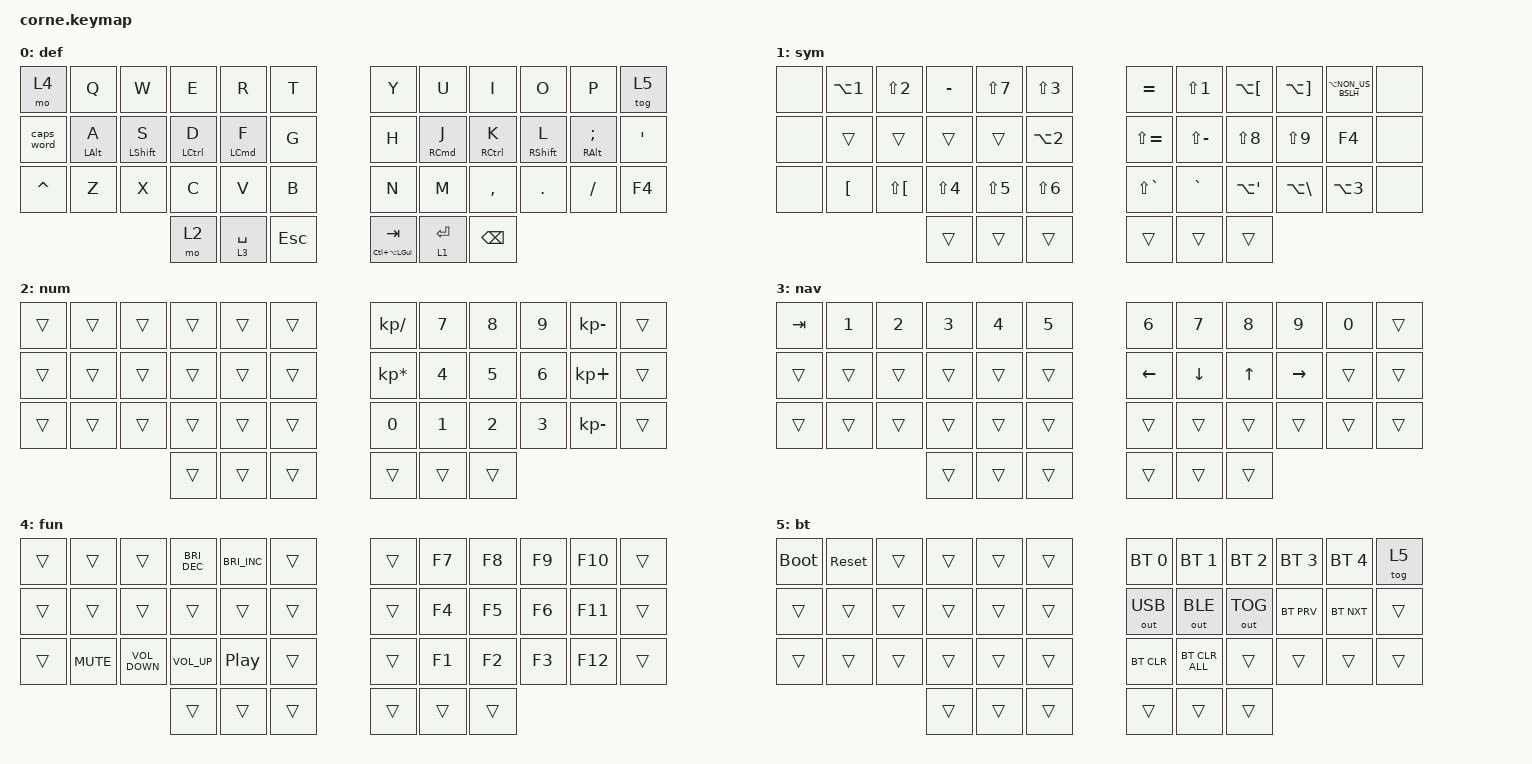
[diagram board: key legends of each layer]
/*
 * Copyright (c) 2020 The ZMK Contributors
 *
 * SPDX-License-Identifier: MIT
 */

#include <behaviors.dtsi>
#include <dt-bindings/zmk/bt.h>
#include <dt-bindings/zmk/outputs.h>
#include <dt-bindings/zmk/keys.h>
#include "zmk-helpers/helper.h"
#include "42.h"

#define HYPER LC(LA(LGUI))
#define KEYS_L LT0 LT1 LT2 LT3 LT4 LM0 LM1 LM2 LM3 LM4 LB0 LB1 LB2 LB3 LB4  // Left-hand keys.
#define KEYS_R RT0 RT1 RT2 RT3 RT4 RM0 RM1 RM2 RM3 RM4 RB0 RB1 RB2 RB3 RB4  // Right-hand keys.
#define THUMBS LH2 LH1 LH0 RH0 RH1 RH2                                      // Thumb keys.


ZMK_HOLD_TAP(hrm_l,
    flavor = "balanced";
    tapping-term-ms = <280>;
    quick-tap-ms = <175>;
    require-prior-idle-ms = <175>;
    bindings = <&kp>, <&kp>;
    hold-trigger-key-positions = <KEYS_R THUMBS>;
    hold-trigger-on-release;
)

ZMK_HOLD_TAP(hrm_r,
    flavor = "balanced";
    tapping-term-ms = <280>;
    quick-tap-ms = <175>;
    require-prior-idle-ms = <175>;
    bindings = <&kp>, <&kp>;
    hold-trigger-key-positions = <KEYS_L THUMBS>;
    hold-trigger-on-release;
)

ZMK_COMBO(equal, &kp LS(N0), LM0 RM0)

/ {
    keymap {
        compatible = "zmk,keymap";

        default_layer {

            // -----------------------------------------------------------------------------------------
            // |  &fun  |  Q   |  W     |  E     |  R     |  T   |   |  Y   |  U     |  I     |  O     |  P     | &bt   |
            // | WORD  | ALT A| SHFT S | CTRL D | CMD F  |  G   |   |  H   | CMD J  | CTRL K | SHFT L | ALT Ñ |  ´     |
            // |       |  Z   |  X     |  C     |  V     |  B   |   |  N   |  M     |  ,     |  .     |  -     | <F4>  |
            //                     | &num   | &nav SPC | ESC |   | HYP TAB | &sym ENT | BKSP |

            display-name = "def";
            bindings = <
&mo 4      &kp Q              &kp W                &kp E           &kp R                  &kp T         &kp Y    &kp U                   &kp I           &kp O                 &kp P                  &tog 5
&caps_word  &hrm_l LEFT_ALT A  &hrm_l LEFT_SHIFT S  &hrm_l LCTRL D  &hrm_l LEFT_COMMAND F  &kp G         &kp H    &hrm_r RIGHT_COMMAND J  &hrm_r RCTRL K  &hrm_r RIGHT_SHIFT L  &hrm_r RIGHT_ALT SEMI  &kp SQT
&kp CARET   &kp Z              &kp X                &kp C           &kp V                  &kp B         &kp N    &kp M                   &kp COMMA       &kp DOT               &kp FSLH               &kp F4
                                                    &mo 2           &lt 3 SPACE            &kp ESCAPE    &mt HYPER TAB  &lt 1 RET               &kp BACKSPACE
            >;
        };

        symbols {
            // -----------------------------------------------------------------------------------------
            // |  &fun  |  |   |  "     |  '     |  /     |  ·   |   |  ¡   |  !     |  [     |  ]     |  \     | &def  |
            // | WORD  | ALT A| SHFT S | CTRL D | CMD F  |  @   |   |  ¿   |  ?     |  (     |  )     | <F4>   |       |
            // |       |  `   |  ^     |  $     |  %     |  %   | & |  >   |  <     |  {     |  }     |  #     |       |
            //                     | &num   | &nav SPC | ESC |   | HYP TAB | &sym ENT | BKSP |

            display-name = "sym";
            bindings = <
&none  &kp LA(NUMBER_1)  &kp LS(NUMBER_2)  &kp MINUS         &kp LS(N7)  &kp LS(NUMBER_3)    &kp EQUAL      &kp LS(NUMBER_1)  &kp LA(LEFT_BRACKET)  &kp LA(RIGHT_BRACKET)  &kp LA(NON_US_BSLH)  &none
&none  &trans            &trans            &trans            &trans      &kp LA(NUMBER_2)    &kp LS(EQUAL)  &kp LS(MINUS)     &kp LS(N8)            &kp LS(N9)             &kp F4                &none
&none  &kp LEFT_BRACKET  &kp LS(LEFT_BRACKET)  &kp LS(NUMBER_4)  &kp LS(N5)  &kp LS(NUMBER_6)    &kp LS(GRAVE)  &kp GRAVE         &kp LA(APOS)          &kp LA(BACKSLASH)      &kp LA(NUMBER_3)                 &none
                                           &trans            &trans      &trans              &trans         &trans            &trans
            >;
        };

        numpad {
            // -----------------------------------------------------------------------------------------
            // |        |      |       |       |       |      |   |   /   |   7    |   8    |    9   |   -    |       |
            // |        |      |       |       |       |      |   |    *  |    4   |   5    |    6   |   +   |       |
            // |        |      |       |       |       |      |   |    0  |    1   |   2    |    3   |   -   |       |
            //                    |        |          |      |   |         |          |       |
            display-name = "num";
            bindings = <
&trans  &trans  &trans  &trans  &trans  &trans    &kp KP_DIVIDE    &kp N7        &kp N8        &kp N9        &kp KP_MINUS  &trans
&trans  &trans  &trans  &trans  &trans  &trans    &kp KP_MULTIPLY  &kp NUMBER_4  &kp N5        &kp NUMBER_6  &kp KP_PLUS   &trans
&trans  &trans  &trans  &trans  &trans  &trans    &kp N0           &kp NUMBER_1  &kp NUMBER_2  &kp NUMBER_3  &kp KP_MINUS     &trans
                        &trans  &trans  &trans    &trans           &trans        &trans
            >;
        };

        nav {
// -----------------------------------------------------------------------------------------
// |        |      |       |       |       |      |   |          |           |       |            |       |       |
// |        |      |       |       |       |      |   |  LFT  | DWN | UP |  RHT   |      |       |
// |        |      |       |       |       |      |   |          |           |       |            |      |       |
//                    |        |          |      |   |           |           |       |

            display-name = "nav";
            bindings = <
&kp TAB  &kp N1  &kp N2  &kp N3  &kp N4  &kp N5    &kp N6    &kp N7    &kp N8  &kp N9     &kp N0  &trans
&trans   &trans  &trans  &trans  &trans  &trans    &kp LEFT  &kp DOWN  &kp UP  &kp RIGHT  &trans  &trans
&trans   &trans  &trans  &trans  &trans  &trans    &trans    &trans    &trans  &trans     &trans  &trans
                         &trans  &trans  &trans    &trans    &trans    &trans
            >;
        };

        functions {
            display-name = "fun";
            bindings = <
&trans  &trans      &trans             &kp C_BRIGHTNESS_DEC  &kp C_BRIGHTNESS_INC  &trans    &trans  &kp F7  &kp F8  &kp F9  &kp F10  &trans
&trans  &trans      &trans             &trans                &trans                &trans    &trans  &kp F4  &kp F5  &kp F6  &kp F11  &trans
&trans  &kp C_MUTE  &kp C_VOLUME_DOWN  &kp C_VOLUME_UP       &kp C_PLAY_PAUSE      &trans    &trans  &kp F1  &kp F2  &kp F3  &kp F12  &trans
                                       &trans                &trans                &trans    &trans  &trans  &trans
            >;
        };

        bluetooth {
            // -----------------------------------------------------------------------------------------
            // | BOOT | RESET|      |      |      |      |   | BT0  | BT1   | BT2  | BT3   | BT4   | &tog  |
            // |      |      |      |      |      |      |   | USB  | BLE   | TOG  | PREV  | NEXT  |       |
            // |      |      |      |      |      |      |   | CLR  | CLRALL|      |       |       |       |
            //                     |      |      |      |   |      |       |      |
            display-name = "bt";
            bindings = <
&bootloader  &sys_reset  &trans  &trans  &trans  &trans    &bt BT_SEL 0  &bt BT_SEL 1   &bt BT_SEL 2  &bt BT_SEL 3  &bt BT_SEL 4  &tog 5
&trans  &trans  &trans  &trans  &trans  &trans    &out OUT_USB  &out OUT_BLE   &out OUT_TOG  &bt BT_PRV    &bt BT_NXT    &trans
&trans  &trans  &trans  &trans  &trans  &trans    &bt BT_CLR    &bt BT_CLR_ALL &trans        &trans        &trans        &trans
                        &trans  &trans  &trans    &trans        &trans         &trans
            >;
        };
    };
};
